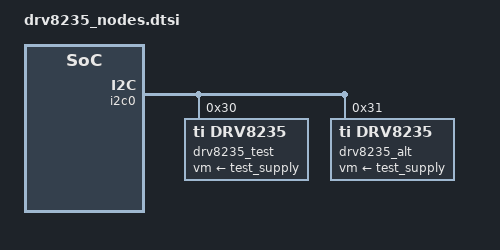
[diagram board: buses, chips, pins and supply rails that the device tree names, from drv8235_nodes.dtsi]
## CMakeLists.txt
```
# SPDX-License-Identifier: Apache-2.0

cmake_minimum_required(VERSION 3.20.0)

get_filename_component(ARGUS_ROOT "${CMAKE_CURRENT_LIST_DIR}/../../.." ABSOLUTE)

# Use exactly the hardware binding, including its required supply/coil properties.
include(${ARGUS_ROOT}/cmake/drv8235_board_lib.cmake)
list(APPEND DTS_ROOT "${ARGUS_BOARD_LIB}")

find_package(Zephyr REQUIRED HINTS $ENV{ZEPHYR_BASE})
project(drv8235_tests)

target_sources(app PRIVATE
        src/main.c
        src/drv8235_emul.c
        ../../../src/drivers/drv8235.c
)

target_include_directories(app PRIVATE
        ${ARGUS_ROOT}/include
)
```

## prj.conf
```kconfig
CONFIG_ZTEST=y
CONFIG_I2C=y
CONFIG_EMUL=y
CONFIG_LOG=y
CONFIG_REGULATOR=y
CONFIG_REGULATOR_FAKE=y
```

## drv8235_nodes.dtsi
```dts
/* SPDX-License-Identifier: Apache-2.0 */
/ {
	fake_regulators {
		compatible = "zephyr,fake-regulator";
		test_supply: supply {
			regulator-name = "coil-test";
		};
	};
};

&i2c0 {
	drv8235_test: drv8235@30 {
		compatible = "ti,drv8235";
		reg = <0x30>;
		vm-supply = <&test_supply>;
		max-output-microvolt = <6000000>;
		coil-resistance-milliohm = <25000>;
		status = "okay";
	};
	/* Different values prove these fields are read per device, not hardcoded. */
	drv8235_alt: drv8235@31 {
		compatible = "ti,drv8235";
		reg = <0x31>;
		vm-supply = <&test_supply>;
		max-output-microvolt = <3000000>;
		coil-resistance-milliohm = <50000>;
		imtr-full-scale-microamp = <1920000>;
		status = "okay";
	};
};
```

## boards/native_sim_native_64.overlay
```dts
/* SPDX-License-Identifier: Apache-2.0 */
#include "../drv8235_nodes.dtsi"
```

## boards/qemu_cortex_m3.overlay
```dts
/* SPDX-License-Identifier: Apache-2.0 */

#include <zephyr/dt-bindings/i2c/i2c.h>

/ {
	i2c0: i2c@100 {
		compatible = "zephyr,i2c-emul-controller";
		reg = <0x100 0x4>;
		clock-frequency = <I2C_BITRATE_STANDARD>;
		#address-cells = <1>;
		#size-cells = <0>;
		#forward-cells = <1>;
		status = "okay";

	};
};

#include "../drv8235_nodes.dtsi"
```

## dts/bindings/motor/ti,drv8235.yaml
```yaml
# SPDX-License-Identifier: Apache-2.0

description: Test-only DRV8235 I2C register emulator, independent of the board library.

compatible: "ti,drv8235"

include: i2c-device.yaml
```

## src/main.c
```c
/* SPDX-License-Identifier: Apache-2.0 */

#include <errno.h>
#include <math.h>
#include <zephyr/drivers/emul.h>
#include <zephyr/drivers/regulator.h>
#include <zephyr/fff.h>
#include <zephyr/init.h>
#include <zephyr/ztest.h>

#include "argus/drivers/drv8235.h"
#include "drv8235_emul.h"

DEFINE_FFF_GLOBALS;

static const struct device *const dev = DEVICE_DT_GET(DT_NODELABEL(drv8235_test));
static const struct emul *const emul = EMUL_DT_GET(DT_NODELABEL(drv8235_test));
static const struct device *const supply = DEVICE_DT_GET(DT_NODELABEL(test_supply));
static const struct device *const alt = DEVICE_DT_GET(DT_NODELABEL(drv8235_alt));
static const struct emul *const alt_emul = EMUL_DT_GET(DT_NODELABEL(drv8235_alt));
static uint8_t boot_config0, boot_config4, boot_target;
static size_t boot_writes;
static bool boot_power;

static int capture_boot(void)
{
	boot_config0 = drv8235_emul_get_reg(emul, 0x09);
	boot_config4 = drv8235_emul_get_reg(emul, 0x0D);
	boot_target = drv8235_emul_get_reg(emul, 0x0F);
	boot_writes = drv8235_emul_write_count(emul);
	boot_power = regulator_is_enabled(supply);
	return 0;
}
SYS_INIT(capture_boot, APPLICATION, 0);

static void *setup(void)
{
	zassert_true(device_is_ready(dev));
	zassert_equal(boot_config0 & 0x80, 0);
	zassert_equal(boot_config4, 0x38);
	zassert_equal(boot_target, 0xFF);
	zassert_equal(boot_writes, 0);
	zassert_false(boot_power);
	return NULL;
}

static void before(void *fixture)
{
	ARG_UNUSED(fixture);
	drv8235_emul_reset(emul);
	drv8235_emul_reset(alt_emul);
	if (!regulator_is_enabled(supply)) {
		zassert_ok(regulator_enable(supply));
	}
	zassert_ok(drv8235_init(dev));
	drv8235_emul_clear_writes(emul);
}

static void assert_command(uint8_t index, enum drv8235_bridge_mode mode)
{
	enum drv8235_bridge_mode actual;
	int16_t raw = 1234;
	float volts = 1234, throttle = 1234;

	zassert_equal(drv8235_emul_get_reg(emul, 0x0F), index);
	zassert_ok(drv8235_get_bridge_control(dev, &actual));
	zassert_equal(actual, mode);
	if (mode == DRV8235_BRIDGE_COAST) {
		zassert_equal(drv8235_get_throttle_raw(dev, &raw), -ENODATA);
		zassert_equal(drv8235_get_throttle_volts(dev, &volts), -ENODATA);
		zassert_equal(drv8235_get_throttle(dev, &throttle), -ENODATA);
		zassert_equal(raw, 1234);
		zassert_equal(volts, 1234);
		zassert_equal(throttle, 1234);
		return;
	}
	int sign = mode == DRV8235_BRIDGE_REVERSE ? -1 : 1;
	int16_t expected = mode == DRV8235_BRIDGE_BRAKE ? 0 : sign * index;

	zassert_ok(drv8235_get_throttle_raw(dev, &raw));
	zassert_equal(raw, expected);
	zassert_ok(drv8235_get_throttle_volts(dev, &volts));
	zassert_within(volts, expected * 0.16733f, 0.0001f);
	zassert_ok(drv8235_get_throttle(dev, &throttle));
}

ZTEST(drv8235, test_init_matches_original_settings)
{
	zassert_equal(drv8235_emul_get_reg(emul, 0x00), 0x02);
	zassert_equal(drv8235_emul_get_reg(emul, 0x09), 0xE0);
	zassert_equal(drv8235_emul_get_reg(emul, 0x0C), 0x73);
	zassert_equal(drv8235_emul_get_reg(emul, 0x0D), 0x3C);
	zassert_equal(drv8235_emul_get_reg(emul, 0x0E), 0x3F);
	zassert_equal(drv8235_emul_get_reg(emul, 0x13), 0xB3);
	zassert_equal(drv8235_emul_get_reg(emul, 0x14), 41);
	assert_command(0, DRV8235_BRIDGE_COAST);
}

ZTEST(drv8235, test_normalized_throttle_and_clamping)
{
	/* Expected codes and getters from the Python/Rust compatibility cases. */
	const struct {
		float command;
		uint8_t index;
		enum drv8235_bridge_mode mode;
		float reported;
	} cases[] = {
		{1.0f, 35, DRV8235_BRIDGE_FORWARD, 0.9742983f},
		{-0.5f, 17, DRV8235_BRIDGE_REVERSE, -0.4764817f},
		{2.0f, 35, DRV8235_BRIDGE_FORWARD, 0.9742983f},
		{-2.0f, 35, DRV8235_BRIDGE_REVERSE, -0.9742983f},
		{0.0f, 0, DRV8235_BRIDGE_BRAKE, 0.0f},
		{0.001f, 0, DRV8235_BRIDGE_BRAKE, 0.0f},
		{-0.001f, 0, DRV8235_BRIDGE_BRAKE, 0.0f},
	};

	for (size_t i = 0; i < ARRAY_SIZE(cases); ++i) {
		float actual;

		zassert_ok(drv8235_set_throttle(dev, cases[i].command));
		assert_command(cases[i].index, cases[i].mode);
		zassert_ok(drv8235_get_throttle(dev, &actual));
		zassert_within(actual, cases[i].reported, 0.0001f);
	}
}

ZTEST(drv8235, test_voltage_throttle_rounding_with_safe_ceiling)
{
	const struct {
		float volts;
		uint8_t index;
		enum drv8235_bridge_mode mode;
	} cases[] = {
		{3.0f, 18, DRV8235_BRIDGE_FORWARD},
		{-6.0f, 35, DRV8235_BRIDGE_REVERSE},
		{6.0f, 35, DRV8235_BRIDGE_FORWARD},
		{0.1f, 1, DRV8235_BRIDGE_FORWARD},
		{0.001f, 0, DRV8235_BRIDGE_FORWARD},
		{0.0f, 0, DRV8235_BRIDGE_BRAKE},
	};

	for (size_t i = 0; i < ARRAY_SIZE(cases); ++i) {
		zassert_ok(drv8235_set_throttle_volts(dev, cases[i].volts));
		assert_command(cases[i].index, cases[i].mode);
	}
}

ZTEST(drv8235, test_raw_throttle_handles_reverse_and_limits)
{
	const int16_t commands[] = {35, -35, -17, 17, 0};
	const uint8_t indices[] = {35, 35, 17, 17, 0};

	for (size_t i = 0; i < ARRAY_SIZE(commands); ++i) {
		zassert_ok(drv8235_set_throttle_raw(dev, commands[i]));
		assert_command(indices[i], commands[i] == 0 ? DRV8235_BRIDGE_BRAKE :
			(commands[i] < 0 ? DRV8235_BRIDGE_REVERSE : DRV8235_BRIDGE_FORWARD));
	}
}

ZTEST(drv8235, test_coil_limit_rejects_without_changing_output)
{
	const float volts[] = {6.001f, -6.001f, 42.0f, -42.0f};
	const int16_t raws[] = {36, -36, 255, -255, INT16_MIN, INT16_MAX};

	zassert_ok(drv8235_set_throttle_raw(dev, 17));
	drv8235_emul_clear_writes(emul);
	for (size_t i = 0; i < ARRAY_SIZE(volts); ++i) {
		zassert_equal(drv8235_set_throttle_volts(dev, volts[i]), -ERANGE);
	}
	for (size_t i = 0; i < ARRAY_SIZE(raws); ++i) {
		zassert_equal(drv8235_set_throttle_raw(dev, raws[i]), -ERANGE);
	}
	zassert_equal(drv8235_emul_write_count(emul), 0);
	assert_command(17, DRV8235_BRIDGE_FORWARD);
}

ZTEST(drv8235, test_board_properties_apply_per_device)
{
	float volts, amps, throttle;

	zassert_ok(drv8235_init(alt));
	/* 50 ohm selects 8192/50 -> 164, unlike the 25 ohm device's 1024/25 -> 41. */
	zassert_equal(drv8235_emul_get_reg(alt_emul, 0x13) >> 6, 3);
	zassert_equal(drv8235_emul_get_reg(alt_emul, 0x14), 164);
	zassert_ok(drv8235_set_throttle(alt, 1.0f));
	zassert_equal(drv8235_emul_get_reg(alt_emul, 0x0F), 17);
	zassert_ok(drv8235_get_throttle(alt, &throttle));
	zassert_within(throttle, 0.9529633f, 0.0001f);
	zassert_ok(drv8235_set_throttle_volts(alt, -3.0f));
	zassert_equal(drv8235_emul_get_reg(alt_emul, 0x0F), 17);
	zassert_equal(drv8235_set_throttle_volts(alt, 3.001f), -ERANGE);
	zassert_equal(drv8235_set_throttle_raw(alt, -18), -ERANGE);
	drv8235_emul_set_reg(alt_emul, 0x05, 96);
	zassert_ok(drv8235_read_voltage_current(alt, &volts, &amps));
	zassert_within(amps, -0.96f, 0.0001f); /* 96 * 1.92 / 192 */
}

ZTEST(drv8235, test_supply_off_and_initial_probe_failure_can_be_retried)
{
	zassert_ok(regulator_disable(supply));
	drv8235_emul_reset(emul);
	zassert_true(device_is_ready(dev));
	zassert_equal(drv8235_init(dev), -EAGAIN);
	zassert_equal(drv8235_set_throttle(dev, 1), -EAGAIN);
	zassert_equal(drv8235_emul_write_count(emul), 0);
	zassert_ok(regulator_enable(supply));
	drv8235_emul_set_error(emul, -ENXIO);
	zassert_equal(drv8235_init(dev), -ENXIO);
	zassert_true(device_is_ready(dev));
	drv8235_emul_set_error(emul, 0);
	zassert_ok(drv8235_init(dev));
	zassert_ok(drv8235_set_throttle(dev, 1));
}

ZTEST(drv8235, test_reversal_coasts_before_changing_target)
{
	const int16_t start[] = {17, -17};
	const int16_t end[] = {-35, 35};

	for (size_t i = 0; i < ARRAY_SIZE(start); ++i) {
		zassert_ok(drv8235_set_throttle_raw(dev, start[i]));
		drv8235_emul_clear_writes(emul);
		zassert_ok(drv8235_set_throttle_raw(dev, end[i]));
		zassert_equal(drv8235_emul_write_count(emul), 3);
		const struct drv8235_emul_write *coast = drv8235_emul_get_write(emul, 0);
		const struct drv8235_emul_write *target = drv8235_emul_get_write(emul, 1);
		const struct drv8235_emul_write *bridge = drv8235_emul_get_write(emul, 2);

		zassert_equal(coast->reg, 0x0D);
		zassert_equal(coast->value & 3, DRV8235_BRIDGE_COAST);
		zassert_equal(target->reg, 0x0F);
		zassert_equal(target->value, 35);
		zassert_equal(bridge->reg, 0x0D);
		zassert_equal(bridge->value & 3,
			      end[i] < 0 ? DRV8235_BRIDGE_REVERSE : DRV8235_BRIDGE_FORWARD);
	}
}

ZTEST(drv8235, test_coast_is_distinct_from_zero_brake)
{
	zassert_ok(drv8235_set_throttle(dev, 1));
	zassert_ok(drv8235_set_throttle(dev, 0));
	assert_command(0, DRV8235_BRIDGE_BRAKE);
	zassert_ok(drv8235_coast(dev));
	assert_command(0, DRV8235_BRIDGE_COAST);
	zassert_equal(drv8235_emul_get_reg(emul, 0x09) & 0x80, 0x80);
}

ZTEST(drv8235, test_same_direction_updates_do_not_insert_coast)
{
	zassert_ok(drv8235_set_throttle(dev, 0.5f));
	drv8235_emul_clear_writes(emul);
	zassert_ok(drv8235_set_throttle(dev, 1));
	zassert_equal(drv8235_emul_write_count(emul), 2);
	const struct drv8235_emul_write *target = drv8235_emul_get_write(emul, 0);
	const struct drv8235_emul_write *bridge = drv8235_emul_get_write(emul, 1);

	zassert_not_null(target);
	zassert_not_null(bridge);
	zassert_equal(target->reg, 0x0F);
	zassert_equal(target->value, 35);
	zassert_equal(bridge->reg, 0x0D);
	zassert_equal(bridge->value & 3, DRV8235_BRIDGE_FORWARD);
}

ZTEST(drv8235, test_voltage_current_follow_eps_conversion_in_all_modes)
{
	const enum drv8235_bridge_mode modes[] = {
		DRV8235_BRIDGE_FORWARD, DRV8235_BRIDGE_REVERSE,
		DRV8235_BRIDGE_BRAKE, DRV8235_BRIDGE_COAST,
	};

	const struct {
		uint8_t raw;
		float amps;
	} currents[] = {
		{0, 0.0f},
		{50, 0.963541667f},
		{96, 1.85f},
		{192, 3.7f},
	};

	drv8235_emul_set_reg(emul, 0x04, 100);
	for (size_t i = 0; i < ARRAY_SIZE(modes); ++i) {
		float volts, amps;
		int sign = modes[i] == DRV8235_BRIDGE_REVERSE ? -1 : 1;

		drv8235_emul_set_reg(emul, 0x0D, 0x3C | modes[i]);
		for (size_t j = 0; j < ARRAY_SIZE(currents); ++j) {
			drv8235_emul_set_reg(emul, 0x05, currents[j].raw);
			zassert_ok(drv8235_read_voltage_current(dev, &volts, &amps));
			zassert_within(volts, sign * 16.733f, 0.0001f);
			zassert_within(amps, sign * currents[j].amps, 0.0001f);
		}
	}
	/* In particular, brake must retain nonzero IMTR, not fabricate zero. */
}

ZTEST(drv8235, test_fault_read_decodes_and_clears)
{
	struct drv8235_faults faults;

	zassert_ok(drv8235_set_throttle(dev, 1));
	drv8235_emul_set_reg(emul, 0x00, 0xBE);
	zassert_ok(drv8235_get_faults(dev, &faults));
	zassert_equal(faults.raw, 0xBE);
	zassert_true(faults.stall);
	zassert_true(faults.overcurrent);
	zassert_true(faults.overvoltage);
	zassert_true(faults.thermal_shutdown);
	zassert_false(faults.power_on_reset);
	zassert_equal(drv8235_emul_get_reg(emul, 0x00), 0x02);
	assert_command(0, DRV8235_BRIDGE_COAST);
}

ZTEST(drv8235, test_normal_npor_does_not_report_fault_or_write)
{
	struct drv8235_faults faults;

	zassert_ok(drv8235_get_faults(dev, &faults));
	zassert_false(faults.power_on_reset);
	zassert_false(faults.stall || faults.overcurrent || faults.overvoltage ||
		      faults.thermal_shutdown);
	zassert_equal(drv8235_emul_write_count(emul), 0);
}

ZTEST(drv8235, test_reset_requires_init_even_after_clear)
{
	struct drv8235_faults faults;

	drv8235_emul_reset(emul);
	zassert_ok(drv8235_get_faults(dev, &faults));
	zassert_true(faults.power_on_reset);
	zassert_equal(drv8235_set_throttle(dev, 1), -EAGAIN);
	zassert_ok(drv8235_clear_faults(dev));
	zassert_equal(drv8235_set_throttle(dev, 1), -EAGAIN);
	zassert_ok(drv8235_init(dev));
	zassert_ok(drv8235_set_throttle(dev, 1));
}

ZTEST(drv8235, test_latched_fault_does_not_gate_setters_or_zero_brake)
{
	drv8235_emul_set_reg(emul, 0x00, 0x92);
	zassert_ok(drv8235_set_throttle(dev, 1));
	assert_command(35, DRV8235_BRIDGE_FORWARD);
	zassert_ok(drv8235_set_throttle_volts(dev, -3));
	assert_command(18, DRV8235_BRIDGE_REVERSE);
	zassert_ok(drv8235_set_throttle_raw(dev, 0));
	assert_command(0, DRV8235_BRIDGE_BRAKE);
	zassert_equal(drv8235_emul_get_reg(emul, 0x00), 0x92);
	zassert_ok(drv8235_clear_faults(dev));
	assert_command(0, DRV8235_BRIDGE_COAST);
	zassert_ok(drv8235_set_throttle(dev, 1));
}

ZTEST(drv8235, test_reinit_disables_before_protected_writes)
{
	zassert_ok(drv8235_set_throttle(dev, 1));
	drv8235_emul_clear_writes(emul);
	zassert_ok(drv8235_init(dev));
	const struct drv8235_emul_write *first = drv8235_emul_get_write(emul, 0);

	zassert_not_null(first);
	zassert_equal(first->reg, 0x09);
	zassert_equal(first->value & 0x80, 0);
	assert_command(0, DRV8235_BRIDGE_COAST);
}

ZTEST(drv8235, test_i2c_errors_propagate_without_publishing_readings)
{
	float volts = 123, amps = 456;
	struct drv8235_faults faults;

	drv8235_emul_set_error(emul, -ETIMEDOUT);
	zassert_equal(drv8235_read_voltage_current(dev, &volts, &amps), -ETIMEDOUT);
	zassert_equal(volts, 123);
	zassert_equal(amps, 456);
	zassert_equal(drv8235_set_throttle(dev, 1), -ETIMEDOUT);
	zassert_equal(drv8235_get_faults(dev, &faults), -ETIMEDOUT);
	zassert_equal(drv8235_clear_faults(dev), -ETIMEDOUT);
	zassert_equal(drv8235_coast(dev), -ETIMEDOUT);
}

ZTEST(drv8235, test_failed_command_returns_error_and_attempts_coast)
{
	zassert_ok(drv8235_set_throttle(dev, 1));
	drv8235_emul_fail_next_write(emul, 0x0D, -EIO);
	zassert_equal(drv8235_set_throttle(dev, -1), -EIO);
	assert_command(0, DRV8235_BRIDGE_COAST);
}

ZTEST(drv8235, test_failed_init_can_be_retried)
{
	drv8235_emul_fail_next_write(emul, 0x14, -EIO);
	zassert_equal(drv8235_init(dev), -EIO);
	zassert_equal(drv8235_emul_get_reg(emul, 0x09) & 0x80, 0);
	zassert_equal(drv8235_set_throttle(dev, 1), -EAGAIN);
	zassert_ok(drv8235_init(dev));
	zassert_ok(drv8235_set_throttle(dev, 1));
}

ZTEST(drv8235, test_invalid_arguments_do_not_write)
{
	float value;
	enum drv8235_bridge_mode mode;

	zassert_equal(drv8235_set_throttle(dev, NAN), -EINVAL);
	zassert_equal(drv8235_set_throttle_volts(dev, INFINITY), -EINVAL);
	zassert_equal(drv8235_set_throttle(NULL, 1), -EINVAL);
	zassert_equal(drv8235_get_throttle(dev, NULL), -EINVAL);
	zassert_equal(drv8235_get_throttle_volts(NULL, &value), -EINVAL);
	zassert_equal(drv8235_get_throttle_raw(dev, NULL), -EINVAL);
	zassert_equal(drv8235_get_bridge_control(NULL, &mode), -EINVAL);
	zassert_equal(drv8235_read_voltage_current(dev, &value, NULL), -EINVAL);
	zassert_equal(drv8235_emul_write_count(emul), 0);
}

ZTEST_SUITE(drv8235, NULL, setup, before, NULL, NULL);
```

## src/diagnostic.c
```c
/* SPDX-License-Identifier: Apache-2.0 */

#include <errno.h>

#include <zephyr/devicetree.h>
#include <zephyr/drivers/emul.h>
#include <zephyr/drivers/regulator/fake.h>
#include <zephyr/ztest.h>

#include "drv8235_emul.h"
#include "../../../../samples/drv8235_diag/src/safety.h"

DEFINE_FFF_GLOBALS;

static const struct device *const axis = DEVICE_DT_GET(DT_NODELABEL(drv8235_test));
static const struct device *const supply = DEVICE_DT_GET(DT_NODELABEL(test_coil_power));
static const struct emul *const emulator = EMUL_DT_GET(DT_NODELABEL(drv8235_test));

static void diagnostic_before(void *fixture)
{
	ARG_UNUSED(fixture);
	if (!regulator_is_enabled(supply)) {
		zassert_ok(regulator_enable(supply));
	}
	drv8235_emul_power_cycle(emulator);
	zassert_ok(drv8235_reconfigure(axis));
	zassert_ok(drv8235_set_output_uv(axis, 1000000));
	zassert_ok(drv8235_set_enabled(axis, true));
}

ZTEST(drv8235_diagnostic, test_normal_stop_keeps_rail_armed_but_disables_bridge)
{
	bool armed = true;
	bool enabled;

	zassert_ok(drv8235_diag_stop_axis(axis, supply, &armed));
	zassert_true(armed);
	zassert_true(regulator_is_enabled(supply));
	zassert_ok(drv8235_is_enabled(axis, &enabled));
	zassert_false(enabled);
}

ZTEST(drv8235_diagnostic, test_i2c_shutdown_failure_removes_shared_supply)
{
	bool armed = true;

	drv8235_emul_set_error(emulator, -ETIMEDOUT);
	zassert_equal(drv8235_diag_stop_axis(axis, supply, &armed), -ETIMEDOUT);
	zassert_false(armed);
	zassert_false(regulator_is_enabled(supply));
}

ZTEST(drv8235_diagnostic, test_failed_rail_shutdown_remains_observable)
{
	bool armed = true;

	drv8235_emul_set_error(emulator, -ETIMEDOUT);
	regulator_fake_disable_fake.return_val = -EIO;
	zassert_equal(drv8235_diag_stop_axis(axis, supply, &armed), -ETIMEDOUT);
	zassert_false(armed, "prevent another pulse even if the rail cannot be removed");
	zassert_true(regulator_is_enabled(supply), "do not report a failed shutdown as OFF");
	zassert_equal(drv8235_diag_enable_rail(supply), -EBUSY);
	regulator_fake_disable_fake.return_val = 0;
	zassert_ok(regulator_disable(supply));
	zassert_false(regulator_is_enabled(supply), "rejected arm must not add a rail reference");
}

ZTEST(drv8235_diagnostic, test_arm_from_off_takes_only_one_rail_reference)
{
	zassert_ok(regulator_disable(supply));
	zassert_ok(drv8235_diag_enable_rail(supply));
	zassert_true(regulator_is_enabled(supply));
	zassert_equal(drv8235_diag_enable_rail(supply), -EBUSY);
	zassert_ok(regulator_disable(supply));
	zassert_false(regulator_is_enabled(supply));
}

ZTEST_SUITE(drv8235_diagnostic, NULL, NULL, diagnostic_before, NULL, NULL);
```

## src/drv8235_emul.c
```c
/* SPDX-License-Identifier: Apache-2.0 */
#define DT_DRV_COMPAT ti_drv8235

#include "drv8235_emul.h"

#include <errno.h>
#include <string.h>
#include <zephyr/drivers/i2c.h>
#include <zephyr/drivers/i2c_emul.h>
#include <zephyr/sys/util.h>

struct drv8235_emul_data {
	uint8_t regs[0x1A];
	int error;
	int write_error;
	uint8_t fail_reg;
	struct drv8235_emul_write writes[128];
	size_t write_count;
};

void drv8235_emul_reset(const struct emul *emul)
{
	struct drv8235_emul_data *data = emul->data;

	memset(data, 0, sizeof(*data));
	/* Power-on defaults, including NPOR=0 and EN_OUT=0. */
	data->regs[0x09] = 0x60;
	data->regs[0x0C] = 0x63;
	data->regs[0x0D] = 0x38;
	data->regs[0x0E] = 0x27;
	data->regs[0x0F] = 0xFF;
	data->regs[0x13] = 0x73;
}

void drv8235_emul_set_reg(const struct emul *emul, uint8_t reg, uint8_t value)
{
	struct drv8235_emul_data *data = emul->data;

	data->regs[reg] = value;
}

uint8_t drv8235_emul_get_reg(const struct emul *emul, uint8_t reg)
{
	const struct drv8235_emul_data *data = emul->data;

	return data->regs[reg];
}

void drv8235_emul_set_error(const struct emul *emul, int error)
{
	struct drv8235_emul_data *data = emul->data;

	data->error = error;
}

void drv8235_emul_fail_next_write(const struct emul *emul, uint8_t reg, int error)
{
	struct drv8235_emul_data *data = emul->data;

	data->fail_reg = reg;
	data->write_error = error;
}

void drv8235_emul_clear_writes(const struct emul *emul)
{
	struct drv8235_emul_data *data = emul->data;

	data->write_count = 0;
}

size_t drv8235_emul_write_count(const struct emul *emul)
{
	const struct drv8235_emul_data *data = emul->data;

	return data->write_count;
}

const struct drv8235_emul_write *drv8235_emul_get_write(const struct emul *emul, size_t index)
{
	const struct drv8235_emul_data *data = emul->data;

	return index < data->write_count ? &data->writes[index] : NULL;
}

static int transfer(const struct emul *emul, struct i2c_msg *msgs, int count, int addr)
{
	struct drv8235_emul_data *data = emul->data;

	ARG_UNUSED(addr);
	if (data->error != 0) {
		return data->error;
	}
	if (count == 2 && msgs[0].len == 1 && msgs[1].len == 1 &&
	    (msgs[0].flags & I2C_MSG_RW_MASK) == I2C_MSG_WRITE &&
	    (msgs[1].flags & I2C_MSG_RW_MASK) == I2C_MSG_READ &&
	    msgs[0].buf[0] < ARRAY_SIZE(data->regs)) {
		msgs[1].buf[0] = data->regs[msgs[0].buf[0]];
		return 0;
	}
	if (count != 1 || msgs[0].len != 2 ||
	    (msgs[0].flags & I2C_MSG_RW_MASK) != I2C_MSG_WRITE) {
		return -EINVAL;
	}
	uint8_t reg = msgs[0].buf[0];
	uint8_t value = msgs[0].buf[1];

	if (reg < 0x09 || reg >= ARRAY_SIZE(data->regs)) {
		return -EINVAL;
	}
	if (data->write_error != 0 && reg == data->fail_reg) {
		int ret = data->write_error;

		data->write_error = 0;
		return ret;
	}
	/* Enforce protected fields so reinitialization must first disable EN_OUT. */
	uint8_t protected_mask = reg == 0x0C ? 0xFF : reg == 0x0D ? 0x0C :
				 reg == 0x0E ? 0x1C : 0;

	if ((data->regs[0x09] & BIT(7)) &&
	    ((value ^ data->regs[reg]) & protected_mask)) {
		return -EACCES;
	}
	if (data->write_count == ARRAY_SIZE(data->writes)) {
		return -ENOMEM;
	}
	data->writes[data->write_count++] = (struct drv8235_emul_write){reg, value};
	if (reg == 0x09 && (value & BIT(1))) {
		data->regs[0x00] = BIT(1); /* CLR_FLT latches NPOR high. */
		value &= (uint8_t)~BIT(1);
	}
	data->regs[reg] = value;
	return 0;
}

static const struct i2c_emul_api api = {.transfer = transfer};

static int emulator_init(const struct emul *emul, const struct device *parent)
{
	ARG_UNUSED(parent);
	drv8235_emul_reset(emul);
	return 0;
}

#define DRV8235_EMUL_DEFINE(inst)                                                   \
	static struct drv8235_emul_data data_##inst;                                \
	EMUL_DT_INST_DEFINE(inst, emulator_init, &data_##inst, NULL, &api, NULL);

DT_INST_FOREACH_STATUS_OKAY(DRV8235_EMUL_DEFINE)
```

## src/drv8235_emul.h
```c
/* SPDX-License-Identifier: Apache-2.0 */
#ifndef DRV8235_EMUL_H_
#define DRV8235_EMUL_H_

#include <stddef.h>
#include <stdint.h>
#include <zephyr/drivers/emul.h>

struct drv8235_emul_write {
	uint8_t reg;
	uint8_t value;
};

void drv8235_emul_reset(const struct emul *emul);
void drv8235_emul_set_reg(const struct emul *emul, uint8_t reg, uint8_t value);
uint8_t drv8235_emul_get_reg(const struct emul *emul, uint8_t reg);
void drv8235_emul_set_error(const struct emul *emul, int error);
void drv8235_emul_fail_next_write(const struct emul *emul, uint8_t reg, int error);
void drv8235_emul_clear_writes(const struct emul *emul);
size_t drv8235_emul_write_count(const struct emul *emul);
const struct drv8235_emul_write *drv8235_emul_get_write(const struct emul *emul, size_t index);

#endif
```
